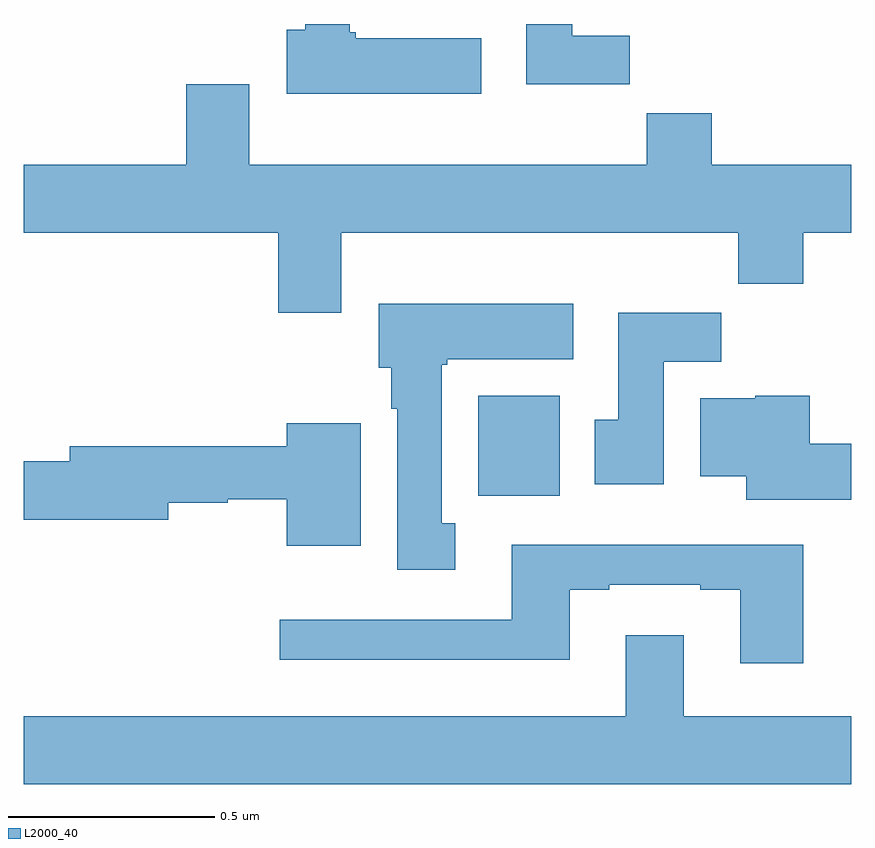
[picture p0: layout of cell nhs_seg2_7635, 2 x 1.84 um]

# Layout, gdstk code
import gdstk
lib = gdstk.Library(unit=1e-6, precision=1e-09)
def R(c, l, rs):  # rectangles x0, y0, x1, y1
    for r in rs: c.add(gdstk.rectangle(r[:2], r[2:], *l))
def P(c, l, *ps):  # polygons
    for p in ps: c.add(gdstk.Polygon(p, *l))
L2000_40 = (2000, 40)

nhs_seg2_7635 = lib.new_cell('nhs_seg2_7635')
R(nhs_seg2_7635, L2000_40, [(207.098,653.66,207.295,653.902)])
P(nhs_seg2_7635, L2000_40, [(207.106,654.766),(206.802,654.766),(206.802,654.78),(206.788,654.78),(206.788,654.8),(206.681,654.8),(206.681,654.786),(206.636,654.786),(206.636,654.632),(207.106,654.632)],
  [(207.464,654.772),(207.325,654.772),(207.325,654.8),(207.215,654.8),(207.215,654.654),(207.464,654.654)],
  [(206.767,654.296),(207.727,654.296),(207.727,654.172),(207.884,654.172),(207.884,654.296),(208,654.296),(208,654.46),(207.662,654.46),(207.662,654.584),(207.505,654.584),(207.505,654.46),(206.545,654.46),(206.545,654.655),(206.393,654.655),(206.393,654.46),(206,654.46),(206,654.296),(206.615,654.296),(206.615,654.102),(206.767,654.102)],
  [(207.043,653.594),(207.01,653.594),(207.01,653.977),(207.024,653.977),(207.024,653.99),(207.328,653.99),(207.328,654.124),(206.858,654.124),(206.858,653.97),(206.888,653.97),(206.888,653.87),(206.903,653.87),(206.903,653.481),(207.043,653.481)],
  [(207.547,653.984),(207.686,653.984),(207.686,654.103),(207.437,654.103),(207.437,653.844),(207.38,653.844),(207.38,653.688),(207.547,653.688)],
  [(208,653.786),(207.899,653.786),(207.899,653.902),(207.768,653.902),(207.768,653.896),(207.635,653.896),(207.635,653.708),(207.746,653.708),(207.746,653.651),(208,653.651)],
  [(206.815,653.836),(206.636,653.836),(206.636,653.78),(206.111,653.78),(206.111,653.744),(206,653.744),(206,653.602),(206.35,653.602),(206.35,653.644),(206.493,653.644),(206.493,653.652),(206.636,653.652),(206.636,653.54),(206.815,653.54)],
  [(207.884,653.542),(207.179,653.542),(207.179,653.361),(206.619,653.361),(206.619,653.264),(207.319,653.264),(207.319,653.433),(207.415,653.433),(207.415,653.445),(207.635,653.445),(207.635,653.433),(207.731,653.433),(207.731,653.256),(207.884,653.256)],
  [(208,653.128),(207.595,653.128),(207.595,653.323),(207.455,653.323),(207.455,653.128),(206,653.128),(206,652.964),(208,652.964)])

lib.write_gds('nhs_seg2_7635.gds')
